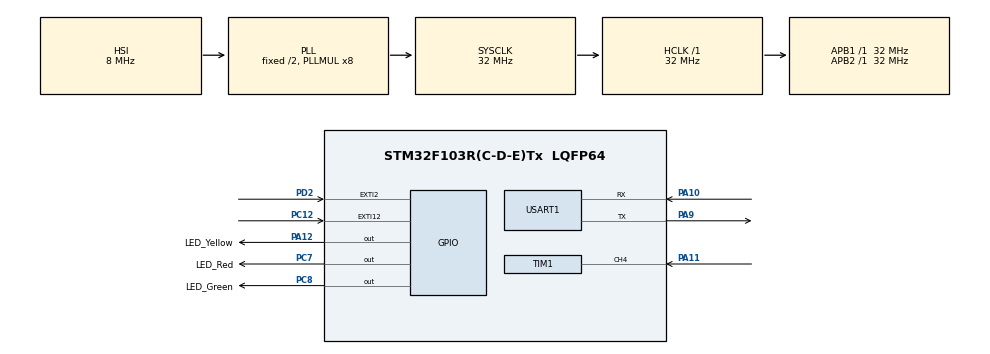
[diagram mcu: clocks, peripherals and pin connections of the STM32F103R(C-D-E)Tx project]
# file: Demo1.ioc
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Mcu.Family=STM32F1
Mcu.Name=STM32F103R(C-D-E)Tx
Mcu.Package=LQFP64
NVIC.EXTI15_10_IRQn=true\:1\:0\:true\:false\:true\:true\:true
NVIC.EXTI2_IRQn=true\:1\:0\:true\:false\:true\:true\:true
NVIC.PriorityGroup=NVIC_PRIORITYGROUP_4
NVIC.TIM1_CC_IRQn=true\:0\:0\:false\:false\:true\:true\:true
NVIC.TIM1_UP_IRQn=true\:0\:0\:false\:false\:true\:true\:true
PA10.Mode=Asynchronous
PA10.Signal=USART1_RX
PA11.GPIO_PuPd=GPIO_PULLUP
PA11.Signal=S_TIM1_CH4
PA12.GPIO_Label=LED_Yellow
PA12.PinState=GPIO_PIN_SET
PA12.Signal=GPIO_Output
PA13.Mode=Trace_Asynchronous_SW
PA13.Signal=SYS_JTMS-SWDIO
PA14.Mode=Trace_Asynchronous_SW
PA14.Signal=SYS_JTCK-SWCLK
PA9.Mode=Asynchronous
PA9.Signal=USART1_TX
PB3.Mode=Trace_Asynchronous_SW
PB3.Signal=SYS_JTDO-TRACESWO
PC12.Signal=GPXTI12
PC7.GPIO_Label=LED_Red
PC7.Signal=GPIO_Output
PC8.GPIO_Label=LED_Green
PC8.PinState=GPIO_PIN_SET
PC8.Signal=GPIO_Output
PD2.Signal=GPXTI2
ProjectManager.HeapSize=0x200
ProjectManager.StackSize=0x400
ProjectManager.TargetToolchain=MDK-ARM V5
RCC.AHBFreq_Value=32000000
RCC.APB1Freq_Value=32000000
RCC.APB1TimFreq_Value=32000000
RCC.APB2Freq_Value=32000000
RCC.APB2TimFreq_Value=32000000
RCC.HCLKFreq_Value=32000000
RCC.PLLMUL=RCC_PLL_MUL8
RCC.SYSCLKFreq_VALUE=32000000
RCC.SYSCLKSource=RCC_SYSCLKSOURCE_PLLCLK
RCC.USBFreq_Value=32000000
SH.S_TIM1_CH4.0=TIM1_CH4,Input_Capture4_from_TI4
TIM1.Channel-Input_Capture4_from_TI4=TIM_CHANNEL_4
TIM1.ICFilter_CH4=3
TIM1.ICPolarity_CH4=TIM_INPUTCHANNELPOLARITY_FALLING
TIM1.Period=10000
TIM1.Prescaler=31
USART1.VirtualMode=VM_ASYNC
board=custom

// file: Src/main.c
/* USER CODE BEGIN Header */
/**
  ******************************************************************************
  * @file           : main.c
  * @brief          : Main program body
  ******************************************************************************
  * @attention
  *
  * <h2><center>&copy; Copyright (c) 2020 STMicroelectronics.
  * All rights reserved.</center></h2>
  *
  * This software component is licensed by ST under BSD 3-Clause license,
  * the "License"; You may not use this file except in compliance with the
  * License. You may obtain a copy of the License at:
  *                        opensource.org/licenses/BSD-3-Clause
  *
  ******************************************************************************
  */
/* USER CODE END Header */

#include "main.h"

/* USER CODE BEGIN Includes */
#include "accept.h"
#include "delay.h"

#include <stdarg.h>
#include <string.h>
#include <stdio.h>
#include <stdlib.h>
/* USER CODE END Includes */

TIM_HandleTypeDef htim1;

UART_HandleTypeDef huart1;

/* USER CODE BEGIN PV */
//extern uint32_t Data_cnt;
//extern uint8_t Data[300];
uint8_t a[5]={0,1,2,3,4};

char Data_str[3000];
char temp[256];

/* USER CODE END PV */

void SystemClock_Config(void);
static void MX_GPIO_Init(void);
static void MX_TIM1_Init(void);
static void MX_USART1_UART_Init(void);
/* USER CODE BEGIN PFP */
void Uart_1_Printf(char *fmt,...);
void int_to_string(char *p,int a);
/* USER CODE END PFP */

int main(void)
{
  /* USER CODE BEGIN 1 */
uint16_t offset=0;
uint16_t offset_cnt=0;
 uint16_t i=0;
  /* USER CODE END 1 */

  /* MCU Configuration--------------------------------------------------------*/

  /* Reset of all peripherals, Initializes the Flash interface and the Systick. */
  HAL_Init();

  /* Configure the system clock */
  SystemClock_Config();

  /* Initialize all configured peripherals */
  MX_GPIO_Init();
  MX_TIM1_Init();
  MX_USART1_UART_Init();
  /* USER CODE BEGIN 2 */
	Delay_Init();
  /* USER CODE END 2 */

  /* Infinite loop */
  /* USER CODE BEGIN WHILE */

   //HAL_TIM_IC_Start_IT(&htim1,TIM_CHANNEL_4);
   //start_accept();
    DelayMs(3000);
  //HAL_UART_Transmit(&huart1,a,5,500);

  while (1)
  {
    /* USER CODE END WHILE */

    /* USER CODE BEGIN 3 */
		if((!using_button) || start_flag)
        {
            HAL_GPIO_WritePin(GPIOC,GPIO_PIN_7,GPIO_PIN_RESET);
            if(Data_cnt >=250)
            {
                //HAL_TIM_IC_Stop_IT(&htim1,TIM_CHANNEL_4);
                stop_accept();
                for(i=0;i<Data_cnt;i++)
                {
                    offset +=sprintf(Data_str+offset,"%d, ",Data[i]);
                }
                HAL_UART_Transmit(&huart1,(uint8_t *)Data_str,strlen(Data_str),500);

                break;
            }
            else
            {
                offset_cnt=sprintf(temp,"Data_cnt  : %d, ",Data_cnt);
                HAL_UART_Transmit(&huart1,(uint8_t *)temp,offset_cnt,50);
            }
            DelayMs(1000);
        }

  }
      offset_cnt=sprintf(temp,"Data_cnt  : %d\noffset : %d\ni : %d, ",Data_cnt,offset,i);
      HAL_UART_Transmit(&huart1,(uint8_t *)temp,offset_cnt,50);
  /* USER CODE END 3 */
}

void SystemClock_Config(void)
{
  RCC_OscInitTypeDef RCC_OscInitStruct = {0};
  RCC_ClkInitTypeDef RCC_ClkInitStruct = {0};

  /** Initializes the CPU, AHB and APB busses clocks
  */
  RCC_OscInitStruct.OscillatorType = RCC_OSCILLATORTYPE_HSI;
  RCC_OscInitStruct.HSIState = RCC_HSI_ON;
  RCC_OscInitStruct.HSICalibrationValue = RCC_HSICALIBRATION_DEFAULT;
  RCC_OscInitStruct.PLL.PLLState = RCC_PLL_ON;
  RCC_OscInitStruct.PLL.PLLSource = RCC_PLLSOURCE_HSI_DIV2;
  RCC_OscInitStruct.PLL.PLLMUL = RCC_PLL_MUL8;
  if (HAL_RCC_OscConfig(&RCC_OscInitStruct) != HAL_OK)
  {
    Error_Handler();
  }
  /** Initializes the CPU, AHB and APB busses clocks
  */
  RCC_ClkInitStruct.ClockType = RCC_CLOCKTYPE_HCLK|RCC_CLOCKTYPE_SYSCLK
                              |RCC_CLOCKTYPE_PCLK1|RCC_CLOCKTYPE_PCLK2;
  RCC_ClkInitStruct.SYSCLKSource = RCC_SYSCLKSOURCE_PLLCLK;
  RCC_ClkInitStruct.AHBCLKDivider = RCC_SYSCLK_DIV1;
  RCC_ClkInitStruct.APB1CLKDivider = RCC_HCLK_DIV1;
  RCC_ClkInitStruct.APB2CLKDivider = RCC_HCLK_DIV1;

  if (HAL_RCC_ClockConfig(&RCC_ClkInitStruct, FLASH_LATENCY_1) != HAL_OK)
  {
    Error_Handler();
  }
}

static void MX_TIM1_Init(void)
{

  TIM_MasterConfigTypeDef sMasterConfig = {0};
  TIM_IC_InitTypeDef sConfigIC = {0};

  htim1.Instance = TIM1;
  htim1.Init.Prescaler = 31;
  htim1.Init.CounterMode = TIM_COUNTERMODE_UP;
  htim1.Init.Period = 10000;
  htim1.Init.ClockDivision = TIM_CLOCKDIVISION_DIV1;
  htim1.Init.RepetitionCounter = 0;
  htim1.Init.AutoReloadPreload = TIM_AUTORELOAD_PRELOAD_DISABLE;
  if (HAL_TIM_IC_Init(&htim1) != HAL_OK)
  {
    Error_Handler();
  }
  sMasterConfig.MasterOutputTrigger = TIM_TRGO_RESET;
  sMasterConfig.MasterSlaveMode = TIM_MASTERSLAVEMODE_DISABLE;
  if (HAL_TIMEx_MasterConfigSynchronization(&htim1, &sMasterConfig) != HAL_OK)
  {
    Error_Handler();
  }
  sConfigIC.ICPolarity = TIM_INPUTCHANNELPOLARITY_FALLING;
  sConfigIC.ICSelection = TIM_ICSELECTION_DIRECTTI;
  sConfigIC.ICPrescaler = TIM_ICPSC_DIV1;
  sConfigIC.ICFilter = 3;
  if (HAL_TIM_IC_ConfigChannel(&htim1, &sConfigIC, TIM_CHANNEL_4) != HAL_OK)
  {
    Error_Handler();
  }

}

static void MX_USART1_UART_Init(void)
{

  huart1.Instance = USART1;
  huart1.Init.BaudRate = 115200;
  huart1.Init.WordLength = UART_WORDLENGTH_8B;
  huart1.Init.StopBits = UART_STOPBITS_1;
  huart1.Init.Parity = UART_PARITY_NONE;
  huart1.Init.Mode = UART_MODE_TX_RX;
  huart1.Init.HwFlowCtl = UART_HWCONTROL_NONE;
  huart1.Init.OverSampling = UART_OVERSAMPLING_16;
  if (HAL_UART_Init(&huart1) != HAL_OK)
  {
    Error_Handler();
  }

}

static void MX_GPIO_Init(void)
{
  GPIO_InitTypeDef GPIO_InitStruct = {0};

  /* GPIO Ports Clock Enable */
  __HAL_RCC_GPIOC_CLK_ENABLE();
  __HAL_RCC_GPIOA_CLK_ENABLE();
  __HAL_RCC_GPIOD_CLK_ENABLE();
  __HAL_RCC_GPIOB_CLK_ENABLE();

  /*Configure GPIO pin Output Level */
  HAL_GPIO_WritePin(LED_Red_GPIO_Port, LED_Red_Pin, GPIO_PIN_RESET);

  /*Configure GPIO pin Output Level */
  HAL_GPIO_WritePin(LED_Green_GPIO_Port, LED_Green_Pin, GPIO_PIN_SET);

  /*Configure GPIO pin Output Level */
  HAL_GPIO_WritePin(LED_Yellow_GPIO_Port, LED_Yellow_Pin, GPIO_PIN_SET);

  /*Configure GPIO pins : LED_Red_Pin LED_Green_Pin */
  GPIO_InitStruct.Pin = LED_Red_Pin|LED_Green_Pin;
  GPIO_InitStruct.Mode = GPIO_MODE_OUTPUT_PP;
  GPIO_InitStruct.Pull = GPIO_NOPULL;
  GPIO_InitStruct.Speed = GPIO_SPEED_FREQ_LOW;
  HAL_GPIO_Init(GPIOC, &GPIO_InitStruct);

  /*Configure GPIO pin : LED_Yellow_Pin */
  GPIO_InitStruct.Pin = LED_Yellow_Pin;
  GPIO_InitStruct.Mode = GPIO_MODE_OUTPUT_PP;
  GPIO_InitStruct.Pull = GPIO_NOPULL;
  GPIO_InitStruct.Speed = GPIO_SPEED_FREQ_LOW;
  HAL_GPIO_Init(LED_Yellow_GPIO_Port, &GPIO_InitStruct);

  /*Configure GPIO pin : PC12 */
  GPIO_InitStruct.Pin = GPIO_PIN_12;
  GPIO_InitStruct.Mode = GPIO_MODE_IT_RISING;
  GPIO_InitStruct.Pull = GPIO_NOPULL;
  HAL_GPIO_Init(GPIOC, &GPIO_InitStruct);

  /*Configure GPIO pin : PD2 */
  GPIO_InitStruct.Pin = GPIO_PIN_2;
  GPIO_InitStruct.Mode = GPIO_MODE_IT_RISING;
  GPIO_InitStruct.Pull = GPIO_NOPULL;
  HAL_GPIO_Init(GPIOD, &GPIO_InitStruct);

  /* EXTI interrupt init*/
  HAL_NVIC_SetPriority(EXTI2_IRQn, 1, 0);
  HAL_NVIC_EnableIRQ(EXTI2_IRQn);

  HAL_NVIC_SetPriority(EXTI15_10_IRQn, 1, 0);
  HAL_NVIC_EnableIRQ(EXTI15_10_IRQn);

}

void Error_Handler(void)
{
}

/************************ (C) COPYRIGHT STMicroelectronics *****END OF FILE****/
